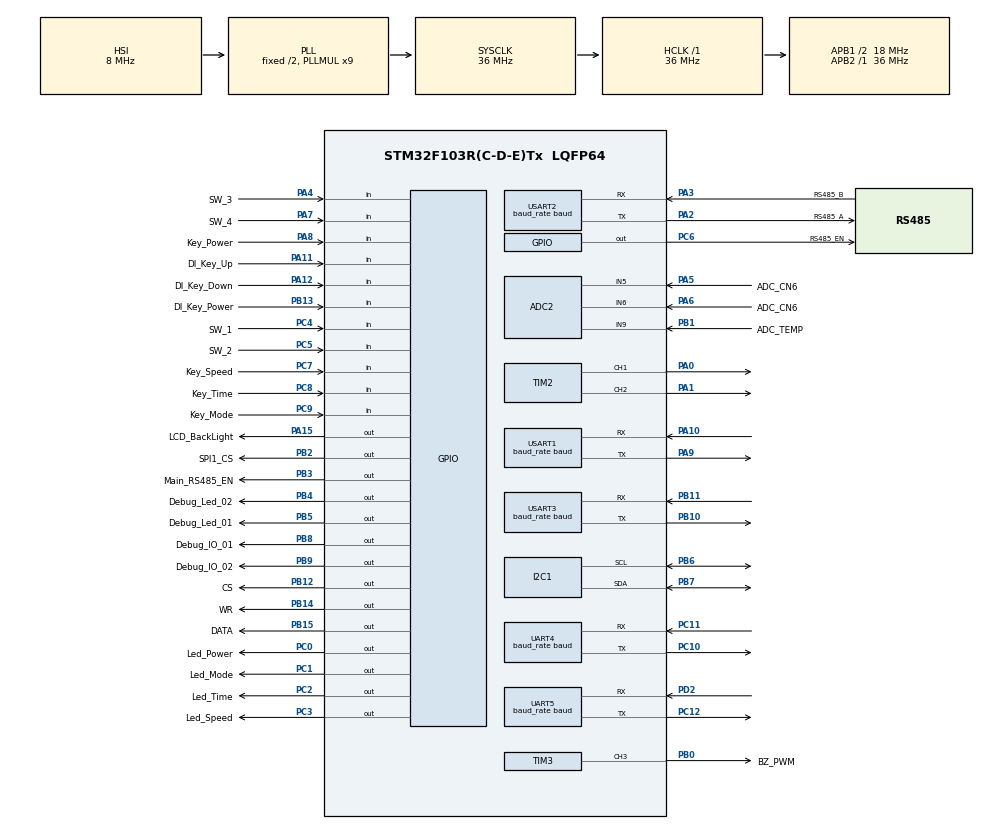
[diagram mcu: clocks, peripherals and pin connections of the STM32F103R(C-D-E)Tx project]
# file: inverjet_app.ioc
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ADC2.Channel-1\#ChannelRegularConversion=ADC_CHANNEL_5
ADC2.NbrOfConversionFlag=1
ADC2.Rank-1\#ChannelRegularConversion=1
ADC2.SamplingTime-1\#ChannelRegularConversion=ADC_SAMPLETIME_1CYCLE_5
Dma.Request0=USART3_RX
Dma.Request1=UART4_RX
Dma.UART4_RX.1.Direction=DMA_PERIPH_TO_MEMORY
Dma.UART4_RX.1.Instance=DMA2_Channel3
Dma.UART4_RX.1.MemDataAlignment=DMA_MDATAALIGN_BYTE
Dma.UART4_RX.1.MemInc=DMA_MINC_ENABLE
Dma.UART4_RX.1.Mode=DMA_NORMAL
Dma.UART4_RX.1.PeriphDataAlignment=DMA_PDATAALIGN_BYTE
Dma.UART4_RX.1.PeriphInc=DMA_PINC_DISABLE
Dma.UART4_RX.1.Priority=DMA_PRIORITY_LOW
Dma.USART3_RX.0.Direction=DMA_PERIPH_TO_MEMORY
Dma.USART3_RX.0.Instance=DMA1_Channel3
Dma.USART3_RX.0.MemDataAlignment=DMA_MDATAALIGN_BYTE
Dma.USART3_RX.0.MemInc=DMA_MINC_ENABLE
Dma.USART3_RX.0.Mode=DMA_NORMAL
Dma.USART3_RX.0.PeriphDataAlignment=DMA_PDATAALIGN_BYTE
Dma.USART3_RX.0.PeriphInc=DMA_PINC_DISABLE
Dma.USART3_RX.0.Priority=DMA_PRIORITY_LOW
FREERTOS.Tasks01=Breath_Light_Ta,-2,128,Breath_Light_Handler,Default,NULL,Dynamic,NULL,NULL;Rs485_Modbus_Ta,2,128,Rs485_Modbus_Handler,Default,NULL,Dynamic,NULL,NULL;Main_Task,2,128,Main_Handler,Default,NULL,Dynamic,NULL,NULL;Key_Button_Task,1,128,Key_Button_Handler,Default,NULL,Dynamic,NULL,NULL;Motor_Task,1,256,Motor_Handler,Default,NULL,Dynamic,NULL,NULL;wifi_module,1,640,wifi_module_Handler,Default,NULL,Dynamic,NULL,NULL;BT_Task,-3,128,BT_Handler,Default,NULL,Dynamic,NULL,NULL
FREERTOS.configMAX_PRIORITIES=6
FREERTOS.configMINIMAL_STACK_SIZE=128
FREERTOS.configTOTAL_HEAP_SIZE=8192
FREERTOS.configUSE_TICK_HOOK=1
IWDG.Prescaler=IWDG_PRESCALER_16
Mcu.Family=STM32F1
Mcu.Name=STM32F103R(C-D-E)Tx
Mcu.Package=LQFP64
NVIC.DMA1_Channel3_IRQn=true\:5\:0\:false\:false\:true\:true\:false\:true\:true
NVIC.DMA2_Channel3_IRQn=true\:5\:0\:false\:false\:true\:true\:false\:true\:true
NVIC.PriorityGroup=NVIC_PRIORITYGROUP_4
NVIC.TIM1_UP_IRQn=true\:15\:0\:true\:false\:true\:false\:false\:true\:true
NVIC.TIM4_IRQn=true\:5\:0\:false\:false\:true\:true\:true\:true\:true
NVIC.TIM5_IRQn=true\:5\:0\:false\:false\:true\:true\:true\:true\:true
NVIC.TIM6_IRQn=true\:5\:0\:false\:false\:true\:true\:true\:true\:true
NVIC.TimeBase=TIM1_UP_IRQn
NVIC.TimeBaseIP=TIM1
NVIC.UART4_IRQn=true\:5\:0\:true\:false\:true\:true\:true\:true\:true
NVIC.UART5_IRQn=true\:5\:0\:true\:false\:true\:true\:true\:true\:true
NVIC.USART1_IRQn=true\:5\:0\:true\:false\:true\:true\:true\:true\:true
NVIC.USART2_IRQn=true\:5\:0\:false\:false\:true\:true\:true\:true\:true
NVIC.USART3_IRQn=true\:5\:0\:false\:false\:true\:true\:true\:true\:true
PA0-WKUP.Signal=S_TIM2_CH1_ETR
PA1.Signal=S_TIM2_CH2
PA10.GPIO_PuPd=GPIO_PULLDOWN
PA10.Mode=Asynchronous
PA10.Signal=USART1_RX
PA11.GPIO_Label=DI_Key_Up
PA11.GPIO_PuPd=GPIO_PULLDOWN
PA11.Signal=GPIO_Input
PA12.GPIO_Label=DI_Key_Down
PA12.GPIO_PuPd=GPIO_PULLDOWN
PA12.Signal=GPIO_Input
PA13.Mode=Serial_Wire
PA13.Signal=SYS_JTMS-SWDIO
PA14.Mode=Serial_Wire
PA14.Signal=SYS_JTCK-SWCLK
PA15.GPIO_Label=LCD_BackLight
PA15.GPIO_PuPd=GPIO_PULLDOWN
PA15.Signal=GPIO_Output
PA2.GPIO_Label=RS485_A
PA2.GPIO_Speed=GPIO_SPEED_FREQ_LOW
PA2.Mode=Asynchronous
PA2.Signal=USART2_TX
PA3.GPIO_Label=RS485_B
PA3.GPIO_PuPd=GPIO_PULLDOWN
PA3.Mode=Asynchronous
PA3.Signal=USART2_RX
PA4.GPIO_Label=SW_3
PA4.GPIO_PuPd=GPIO_PULLUP
PA4.Signal=GPIO_Input
PA5.GPIO_Label=ADC_CN6
PA5.Signal=ADCx_IN5
PA6.GPIO_Label=ADC_CN6
PA6.Signal=ADCx_IN6
PA7.GPIO_Label=SW_4
PA7.GPIO_PuPd=GPIO_PULLUP
PA7.Signal=GPIO_Input
PA8.GPIO_Label=Key_Power
PA8.GPIO_PuPd=GPIO_PULLUP
PA8.Signal=GPIO_Input
PA9.GPIO_Speed=GPIO_SPEED_FREQ_LOW
PA9.Mode=Asynchronous
PA9.Signal=USART1_TX
PB0.GPIO_Label=BZ_PWM
PB0.Signal=S_TIM3_CH3
PB1.GPIO_Label=ADC_TEMP
PB1.Signal=ADCx_IN9
PB10.GPIO_Speed=GPIO_SPEED_FREQ_LOW
PB10.Mode=Asynchronous
PB10.Signal=USART3_TX
PB11.GPIO_PuPd=GPIO_PULLDOWN
PB11.Mode=Asynchronous
PB11.Signal=USART3_RX
PB12.GPIO_Label=CS
PB12.GPIO_PuPd=GPIO_PULLUP
PB12.Signal=GPIO_Output
PB13.GPIO_Label=DI_Key_Power
PB13.GPIO_PuPd=GPIO_PULLDOWN
PB13.Signal=GPIO_Input
PB14.GPIO_Label=WR
PB14.GPIO_PuPd=GPIO_PULLUP
PB14.Signal=GPIO_Output
PB15.GPIO_Label=DATA
PB15.GPIO_PuPd=GPIO_PULLUP
PB15.Signal=GPIO_Output
PB2.GPIO_Label=SPI1_CS
PB2.GPIO_PuPd=GPIO_PULLDOWN
PB2.Signal=GPIO_Output
PB3.GPIO_Label=Main_RS485_EN
PB3.GPIO_PuPd=GPIO_PULLDOWN
PB3.Signal=GPIO_Output
PB4.GPIO_Label=Debug_Led_02
PB4.GPIO_PuPd=GPIO_PULLUP
PB4.Signal=GPIO_Output
PB5.GPIO_Label=Debug_Led_01
PB5.GPIO_PuPd=GPIO_PULLUP
PB5.Signal=GPIO_Output
PB6.Mode=I2C
PB6.Signal=I2C1_SCL
PB7.Mode=I2C
PB7.Signal=I2C1_SDA
PB8.GPIO_Label=Debug_IO_01
PB8.GPIO_PuPd=GPIO_PULLUP
PB8.Signal=GPIO_Output
PB9.GPIO_Label=Debug_IO_02
PB9.GPIO_PuPd=GPIO_PULLUP
PB9.Signal=GPIO_Output
PC0.GPIO_Label=Led_Power
PC0.GPIO_PuPd=GPIO_PULLUP
PC0.Signal=GPIO_Output
PC1.GPIO_Label=Led_Mode
PC1.GPIO_PuPd=GPIO_PULLUP
PC1.Signal=GPIO_Output
PC10.GPIO_Speed=GPIO_SPEED_FREQ_LOW
PC10.Mode=Asynchronous
PC10.Signal=UART4_TX
PC11.GPIO_PuPd=GPIO_PULLDOWN
PC11.Mode=Asynchronous
PC11.Signal=UART4_RX
PC12.GPIO_Speed=GPIO_SPEED_FREQ_LOW
PC12.Mode=Asynchronous
PC12.Signal=UART5_TX
PC14-OSC32_IN.Mode=LSE-External-Oscillator
PC14-OSC32_IN.Signal=RCC_OSC32_IN
PC15-OSC32_OUT.Mode=LSE-External-Oscillator
PC15-OSC32_OUT.Signal=RCC_OSC32_OUT
PC2.GPIO_Label=Led_Time
PC2.GPIO_PuPd=GPIO_PULLUP
PC2.Signal=GPIO_Output
PC3.GPIO_Label=Led_Speed
PC3.GPIO_PuPd=GPIO_PULLUP
PC3.Signal=GPIO_Output
PC4.GPIO_Label=SW_1
PC4.GPIO_PuPd=GPIO_PULLUP
PC4.Signal=GPIO_Input
PC5.GPIO_Label=SW_2
PC5.GPIO_PuPd=GPIO_PULLUP
PC5.Signal=GPIO_Input
PC6.GPIO_Label=RS485_EN
PC6.GPIO_PuPd=GPIO_PULLDOWN
PC6.Signal=GPIO_Output
PC7.GPIO_Label=Key_Speed
PC7.GPIO_PuPd=GPIO_PULLUP
PC7.Signal=GPIO_Input
PC8.GPIO_Label=Key_Time
PC8.GPIO_PuPd=GPIO_PULLUP
PC8.Signal=GPIO_Input
PC9.GPIO_Label=Key_Mode
PC9.GPIO_PuPd=GPIO_PULLUP
PC9.Signal=GPIO_Input
PD0-OSC_IN.Mode=HSE-External-Oscillator
PD0-OSC_IN.Signal=RCC_OSC_IN
PD1-OSC_OUT.Mode=HSE-External-Oscillator
PD1-OSC_OUT.Signal=RCC_OSC_OUT
PD2.GPIO_PuPd=GPIO_PULLDOWN
PD2.Mode=Asynchronous
PD2.Signal=UART5_RX
ProjectManager.HeapSize=0x200
ProjectManager.StackSize=0x400
ProjectManager.TargetToolchain=MDK-ARM V5.27
RCC.ADCPresc=RCC_ADCPCLK2_DIV4
RCC.AHBFreq_Value=36000000
RCC.APB1CLKDivider=RCC_HCLK_DIV2
RCC.APB1Freq_Value=18000000
RCC.APB1TimFreq_Value=36000000
RCC.APB2Freq_Value=36000000
RCC.APB2TimFreq_Value=36000000
RCC.HCLKFreq_Value=36000000
RCC.PLLMUL=RCC_PLL_MUL9
RCC.SYSCLKFreq_VALUE=36000000
RCC.SYSCLKSource=RCC_SYSCLKSOURCE_PLLCLK
RCC.USBFreq_Value=36000000
SH.ADCx_IN5.0=ADC2_IN5,IN5
SH.ADCx_IN6.0=ADC2_IN6,IN6
SH.ADCx_IN9.0=ADC2_IN9,IN9
SH.S_TIM2_CH1_ETR.0=TIM2_CH1,PWM Generation1 CH1
SH.S_TIM2_CH2.0=TIM2_CH2,PWM Generation2 CH2
SH.S_TIM3_CH3.0=TIM3_CH3,PWM Generation3 CH3
TIM2.AutoReloadPreload=TIM_AUTORELOAD_PRELOAD_DISABLE
TIM2.Channel-PWM\ Generation1\ CH1=TIM_CHANNEL_1
TIM2.Channel-PWM\ Generation2\ CH2=TIM_CHANNEL_2
TIM2.OCPolarity_1=TIM_OCPOLARITY_LOW
TIM2.OCPolarity_2=TIM_OCPOLARITY_HIGH
TIM2.Period=Pwm1_Tim2_Period
TIM2.Prescaler=Pwm1_Tim2_Prescaler
TIM3.Channel-PWM\ Generation3\ CH3=TIM_CHANNEL_3
TIM3.Period=Pwm2_Tim3_Period
TIM3.Prescaler=Pwm2_Tim3_Prescaler
TIM4.AutoReloadPreload=TIM_AUTORELOAD_PRELOAD_ENABLE
TIM4.CounterMode=TIM_COUNTERMODE_UP
TIM4.Period=36-1
TIM4.Prescaler=3600-1
TIM4.TIM_MasterOutputTrigger=TIM_TRGO_RESET
TIM5.Period=1000-1
TIM5.Prescaler=3600-1
TIM6.Period=1000-1
TIM6.Prescaler=3600-1
TIM6.TIM_MasterOutputTrigger=TIM_TRGO_ENABLE
UART4.BaudRate=baud_rate
UART4.StopBits=UART_STOPBITS_1
UART4.VirtualMode=Asynchronous
UART4.WordLength=WORDLENGTH_8B
UART5.BaudRate=baud_rate
UART5.VirtualMode=Asynchronous
USART1.BaudRate=baud_rate
USART1.VirtualMode=VM_ASYNC
USART1.WordLength=WORDLENGTH_8B
USART2.BaudRate=baud_rate
USART2.VirtualMode=VM_ASYNC
USART3.BaudRate=baud_rate
USART3.VirtualMode=VM_ASYNC
VP_FREERTOS_VS_CMSIS_V1.Mode=CMSIS_V1
VP_IWDG_VS_IWDG.Mode=IWDG_Activate
VP_SYS_VS_tim1.Mode=TIM1
VP_TIM2_VS_ClockSourceINT.Mode=Internal
VP_TIM3_VS_ClockSourceINT.Mode=Internal
VP_TIM4_VS_ClockSourceINT.Mode=Internal
VP_TIM5_VS_ClockSourceINT.Mode=Internal
VP_TIM6_VS_ClockSourceINT.Mode=Enable_Timer
VP_TIM6_VS_OPM.Mode=OPM_bit
board=custom

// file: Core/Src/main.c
/* USER CODE BEGIN Header */
/**
  ******************************************************************************
  * @file           : main.c
  * @brief          : Main program body
  ******************************************************************************
  * @attention
  *
  * <h2><center>&copy; Copyright (c) 2021 STMicroelectronics.
  * All rights reserved.</center></h2>
  *
  * This software component is licensed by ST under BSD 3-Clause license,
  * the "License"; You may not use this file except in compliance with the
  * License. You may obtain a copy of the License at:
  *                        opensource.org/licenses/BSD-3-Clause
  *
  ******************************************************************************
  */
/* USER CODE END Header */
#include "main.h"
#include "cmsis_os.h"
#include "adc.h"
#include "dma.h"
#include "i2c.h"
#include "iwdg.h"
#include "tim.h"
#include "usart.h"
#include "gpio.h"

/* USER CODE BEGIN Includes */
#include "tm1621.h"
/* USER CODE END Includes */

/* USER CODE BEGIN PD */
extern void prvvTIMERExpiredISR( void );
/* USER CODE END PD */

void SystemClock_Config(void);
void MX_FREERTOS_Init(void);
/* USER CODE BEGIN PFP */

extern void Modbus_Buffer_Init(void);
extern void Dev_Information_Init(void);

/* USER CODE END PFP */

int main(void)
{
  /* USER CODE BEGIN 1 */
	SCB->VTOR = FLASH_BASE | 0x8000;
	__enable_irq();
	HAL_DeInit();

  /* USER CODE END 1 */

  /* MCU Configuration--------------------------------------------------------*/

  /* Reset of all peripherals, Initializes the Flash interface and the Systick. */
  HAL_Init();

  /* Configure the system clock */
  SystemClock_Config();

  /* USER CODE BEGIN SysInit */
	Modbus_Buffer_Init();
	Dev_Information_Init();

  /* USER CODE END SysInit */

  /* Initialize all configured peripherals */
  MX_GPIO_Init();
  MX_DMA_Init();
  MX_USART1_UART_Init();
  MX_TIM2_Init();
  MX_UART4_Init();
  MX_UART5_Init();
  MX_USART2_UART_Init();
  MX_USART3_UART_Init();
  MX_TIM5_Init();
  MX_TIM3_Init();
  MX_IWDG_Init();
  MX_I2C1_Init();
  MX_TIM4_Init();
  MX_ADC2_Init();
  MX_TIM6_Init();

  /* Call init function for freertos objects (in freertos.c) */
  MX_FREERTOS_Init();

  /* Start scheduler */
  osKernelStart();

  /* We should never get here as control is now taken by the scheduler */
  /* Infinite loop */
  while (1)
  {

    /* USER CODE BEGIN 3 */
//		HAL_WWDG_Refresh(&hwwdg);
  }
  /* USER CODE END 3 */
}

void SystemClock_Config(void)
{
  RCC_OscInitTypeDef RCC_OscInitStruct = {0};
  RCC_ClkInitTypeDef RCC_ClkInitStruct = {0};
  RCC_PeriphCLKInitTypeDef PeriphClkInit = {0};

  /** Initializes the RCC Oscillators according to the specified parameters
  * in the RCC_OscInitTypeDef structure.
  */
  RCC_OscInitStruct.OscillatorType = RCC_OSCILLATORTYPE_HSI|RCC_OSCILLATORTYPE_LSI;
  RCC_OscInitStruct.HSIState = RCC_HSI_ON;
  RCC_OscInitStruct.HSICalibrationValue = RCC_HSICALIBRATION_DEFAULT;
  RCC_OscInitStruct.LSIState = RCC_LSI_ON;
  RCC_OscInitStruct.PLL.PLLState = RCC_PLL_ON;
  RCC_OscInitStruct.PLL.PLLSource = RCC_PLLSOURCE_HSI_DIV2;
  RCC_OscInitStruct.PLL.PLLMUL = RCC_PLL_MUL9;
  if (HAL_RCC_OscConfig(&RCC_OscInitStruct) != HAL_OK)
  {
    Error_Handler();
  }

  /** Initializes the CPU, AHB and APB buses clocks
  */
  RCC_ClkInitStruct.ClockType = RCC_CLOCKTYPE_HCLK|RCC_CLOCKTYPE_SYSCLK
                              |RCC_CLOCKTYPE_PCLK1|RCC_CLOCKTYPE_PCLK2;
  RCC_ClkInitStruct.SYSCLKSource = RCC_SYSCLKSOURCE_PLLCLK;
  RCC_ClkInitStruct.AHBCLKDivider = RCC_SYSCLK_DIV1;
  RCC_ClkInitStruct.APB1CLKDivider = RCC_HCLK_DIV2;
  RCC_ClkInitStruct.APB2CLKDivider = RCC_HCLK_DIV1;

  if (HAL_RCC_ClockConfig(&RCC_ClkInitStruct, FLASH_LATENCY_1) != HAL_OK)
  {
    Error_Handler();
  }
  PeriphClkInit.PeriphClockSelection = RCC_PERIPHCLK_ADC;
  PeriphClkInit.AdcClockSelection = RCC_ADCPCLK2_DIV4;
  if (HAL_RCCEx_PeriphCLKConfig(&PeriphClkInit) != HAL_OK)
  {
    Error_Handler();
  }
}

void HAL_TIM_PeriodElapsedCallback(TIM_HandleTypeDef *htim)
{
  if (htim->Instance == TIM1) {
    HAL_IncTick();
  }
  /* USER CODE BEGIN Callback 1 */
	if (htim->Instance == TIM4) {
    prvvTIMERExpiredISR();
  }
	if (htim->Instance == TIM6) {
		TM1621_Buzzer_Off();
		HAL_TIM_Base_Stop_IT(&htim6);
  }
  /* USER CODE END Callback 1 */
}

void Error_Handler(void)
{
  __disable_irq();
  while (1)
  {
  }
}

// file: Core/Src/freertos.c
/* USER CODE BEGIN Header */
/**
  ******************************************************************************
  * File Name          : freertos.c
  * Description        : Code for freertos applications
  ******************************************************************************
  * @attention
  *
  * Copyright (c) 2023 STMicroelectronics.
  * All rights reserved.
  *
  * This software is licensed under terms that can be found in the LICENSE file
  * in the root directory of this software component.
  * If no LICENSE file comes with this software, it is provided AS-IS.
  *
  ******************************************************************************
  */
/* USER CODE END Header */

#include "FreeRTOS.h"
#include "task.h"
#include "main.h"
#include "cmsis_os.h"

/* USER CODE BEGIN Includes */
#include "iap.h"
#include "iwdg.h"
#include "gpio.h"
#include "pump.h"
#include "dev.h"
#include "modbus.h"
#include "subsystem.h"
#include "display.h"
#include "Breath_light.h"
#include "timing.h"
#include "key.h"
#include "motor.h"
#include "debug_protocol.h"	///////////////////////	串口调试

#include "macro_definition.h"				// 统一宏定义
#include "wifi_thread.h"				// wifi模组
#include "wifi.h"

/* USER CODE END Includes */

osThreadId Breath_Light_TaHandle;
osThreadId Rs485_Modbus_TaHandle;
osThreadId Main_TaskHandle;
osThreadId Key_Button_TaskHandle;
osThreadId Motor_TaskHandle;
osThreadId wifi_moduleHandle;
osThreadId BT_TaskHandle;

void Breath_Light_Handler(void const * argument);
void Rs485_Modbus_Handler(void const * argument);
void Main_Handler(void const * argument);
void Key_Button_Handler(void const * argument);
void Motor_Handler(void const * argument);
void wifi_module_Handler(void const * argument);
void BT_Handler(void const * argument);

void MX_FREERTOS_Init(void); /* (MISRA C 2004 rule 8.1) */

/* GetIdleTaskMemory prototype (linked to static allocation support) */
void vApplicationGetIdleTaskMemory( StaticTask_t **ppxIdleTaskTCBBuffer, StackType_t **ppxIdleTaskStackBuffer, uint32_t *pulIdleTaskStackSize );

/* Hook prototypes */
void vApplicationTickHook(void);

/* USER CODE BEGIN 3 */
__weak void vApplicationTickHook( void )
{
   /* This function will be called by each tick interrupt if
   configUSE_TICK_HOOK is set to 1 in FreeRTOSConfig.h. User code can be
   added here, but the tick hook is called from an interrupt context, so
   code must not attempt to block, and only the interrupt safe FreeRTOS API
   functions can be used (those that end in FromISR()). */
}
/* USER CODE END 3 */

/* USER CODE BEGIN GET_IDLE_TASK_MEMORY */
static StaticTask_t xIdleTaskTCBBuffer;
static StackType_t xIdleStack[configMINIMAL_STACK_SIZE];

void vApplicationGetIdleTaskMemory( StaticTask_t **ppxIdleTaskTCBBuffer, StackType_t **ppxIdleTaskStackBuffer, uint32_t *pulIdleTaskStackSize )
{
  *ppxIdleTaskTCBBuffer = &xIdleTaskTCBBuffer;
  *ppxIdleTaskStackBuffer = &xIdleStack[0];
  *pulIdleTaskStackSize = configMINIMAL_STACK_SIZE;
  /* place for user code */
}
/* USER CODE END GET_IDLE_TASK_MEMORY */

void MX_FREERTOS_Init(void) {

  /* Create the thread(s) */
  /* definition and creation of Breath_Light_Ta */
  osThreadDef(Breath_Light_Ta, Breath_Light_Handler, osPriorityLow, 0, 128);
  Breath_Light_TaHandle = osThreadCreate(osThread(Breath_Light_Ta), NULL);

  /* definition and creation of Rs485_Modbus_Ta */
  osThreadDef(Rs485_Modbus_Ta, Rs485_Modbus_Handler, osPriorityHigh, 0, 128);
  Rs485_Modbus_TaHandle = osThreadCreate(osThread(Rs485_Modbus_Ta), NULL);

  /* definition and creation of Main_Task */
  osThreadDef(Main_Task, Main_Handler, osPriorityRealtime, 0, 128);
  Main_TaskHandle = osThreadCreate(osThread(Main_Task), NULL);

  /* definition and creation of Key_Button_Task */
  osThreadDef(Key_Button_Task, Key_Button_Handler, osPriorityIdle, 0, 128);
  Key_Button_TaskHandle = osThreadCreate(osThread(Key_Button_Task), NULL);

  /* definition and creation of Motor_Task */
  osThreadDef(Motor_Task, Motor_Handler, osPriorityRealtime, 0, 256);
  Motor_TaskHandle = osThreadCreate(osThread(Motor_Task), NULL);

  /* definition and creation of wifi_module */
  osThreadDef(wifi_module, wifi_module_Handler, osPriorityHigh, 0, 640);
  wifi_moduleHandle = osThreadCreate(osThread(wifi_module), NULL);

  /* definition and creation of BT_Task */
  osThreadDef(BT_Task, BT_Handler, osPriorityAboveNormal, 0, 64);
  BT_TaskHandle = osThreadCreate(osThread(BT_Task), NULL);

}

void Breath_Light_Handler(void const * argument)
{
  /* USER CODE BEGIN Breath_Light_Handler */
	osDelay(POWER_ON_WAITE_TIME_TASK);
	App_Breath_light_Init();
  /* Infinite loop */
  while(1)
  {
		HAL_IWDG_Refresh(&hiwdg);

		App_Breath_light_Handler();

		osDelay(THREAD_PERIOD_BREATH_LIGHT_TASK);
  }
  /* USER CODE END Breath_Light_Handler */
}

void Rs485_Modbus_Handler(void const * argument)
{
  /* USER CODE BEGIN Rs485_Modbus_Handler */
	uint16_t time_cnt=0;

	Modbus_Init();
	App_Data_Init();
	osDelay(1000);
  /* Infinite loop */
  while(1)
  {
		HAL_IWDG_Refresh(&hiwdg);

		Modbus_Handle_Task();

		if(System_is_OTA())
		{
			if(time_cnt++ > MODBUS_THREAD_ONE_SECOND)
			{
				time_cnt = 0;
				OTA_Time_Out();
			}
		}

		osDelay(THREAD_PERIOD_RS485_MODBUS_TASK);
  }
  /* USER CODE END Rs485_Modbus_Handler */
}

void Main_Handler(void const * argument)
{
  /* USER CODE BEGIN Main_Handler */

	Set_Software_Version();
	App_Timing_Init();		//5s
	//mcu_get_system_time();
	osDelay(20);
	System_Check_Timer_Clean();
	//osDelay(POWER_ON_WAITE_TIME_TASK);
  /* Infinite loop */
  while(1)
  {
		HAL_IWDG_Refresh(&hiwdg);
		App_Timing_Handler();

		osDelay(THREAD_PERIOD_MAIN_TASK);

  }
  /* USER CODE END Main_Handler */
}

void Key_Button_Handler(void const * argument)
{
  /* USER CODE BEGIN Key_Button_Handler */

	App_Key_Init();
	//osDelay(POWER_ON_WAITE_TIME_TASK);
  /* Infinite loop */
  while(1)
  {
		HAL_IWDG_Refresh(&hiwdg);
//HAL_GPIO_WritePin(GPIOC, GPIO_PIN_2, GPIO_PIN_SET);		// 1
		App_Key_Handler();
//HAL_GPIO_WritePin(GPIOC, GPIO_PIN_2, GPIO_PIN_RESET);	// 0
		osDelay(THREAD_PERIOD_KEY_BUTTON_TASK);
  }
  /* USER CODE END Key_Button_Handler */
}

void Motor_Handler(void const * argument)
{
  /* USER CODE BEGIN Motor_Handler */

	Metering_Receive_Init();
	Debug_Protocol_Init();
	//osDelay(POWER_ON_WAITE_TIME_TASK);
  /* Infinite loop */
  for(;;)
  {
//HAL_GPIO_WritePin(GPIOC, GPIO_PIN_1, GPIO_PIN_SET);		// 1
		App_Motor_Handler();
//HAL_GPIO_WritePin(GPIOC, GPIO_PIN_1, GPIO_PIN_RESET);	// 0
    osDelay(THREAD_PERIOD_MOTOR_TASK);
  }
  /* USER CODE END Motor_Handler */
}

void wifi_module_Handler(void const * argument)
{
  /* USER CODE BEGIN wifi_module_Handler */
	uint16_t time_cnt=0;

	wifi_Module_Init();
	osDelay(POWER_ON_WAITE_TIME_TASK);
  /* Infinite loop */
  for(;;)
  {
//HAL_GPIO_WritePin(GPIOC, GPIO_PIN_0, GPIO_PIN_SET);		// 1
		Wifi_Module_Handler();
		HAL_IWDG_Refresh(&hiwdg);

		if(System_is_OTA())
		{
			if(time_cnt++ > WIFI_THREAD_ONE_SECOND)
			{
				time_cnt = 0;
				OTA_Time_Out();
			}
		}
//HAL_GPIO_WritePin(GPIOC, GPIO_PIN_0, GPIO_PIN_RESET);	// 0
    osDelay(THREAD_PERIOD_WIFI_TASK);
  }
  /* USER CODE END wifi_module_Handler */
}

void BT_Handler(void const * argument)
{
  /* USER CODE BEGIN BT_Handler */
	BT_Modbus_Config_Init();
	osDelay(1000);
	BT_Module_AT_Init();// 6s
	//osDelay(1000);

  /* Infinite loop */
  for(;;)
  {
		HAL_IWDG_Refresh(&hiwdg);
		BT_MsTimeout();

		BT_Read_Handler();

		osDelay(THREAD_PERIOD_BT_TASK);
  }
  /* USER CODE END BT_Handler */
}
